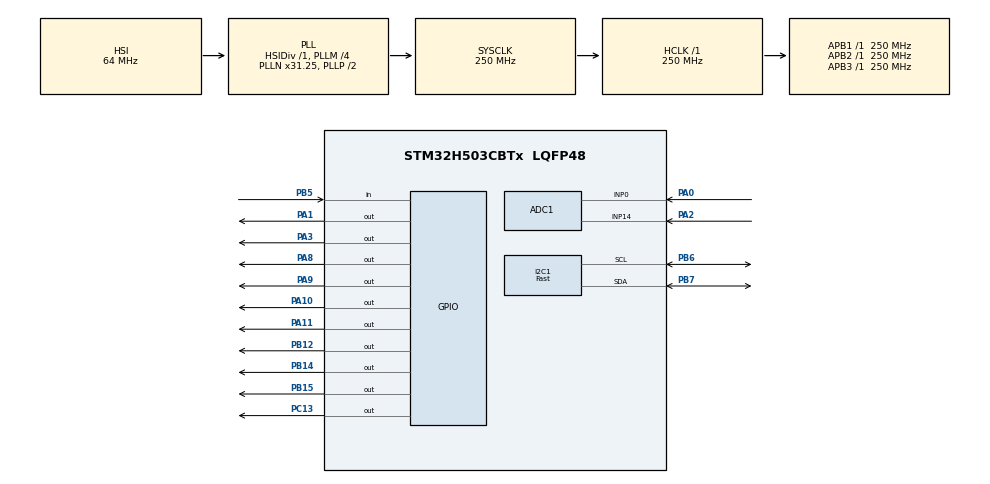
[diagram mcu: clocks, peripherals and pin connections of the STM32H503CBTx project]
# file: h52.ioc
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ADC1.Channel-1\#ChannelRegularConversion=ADC_CHANNEL_0
ADC1.MonitoredBy-1\#ChannelRegularConversion=__NULL
ADC1.NbrOfConversionFlag=1
ADC1.OffsetNumber-1\#ChannelRegularConversion=ADC_OFFSET_NONE
ADC1.Rank-1\#ChannelRegularConversion=1
ADC1.SamplingTime-1\#ChannelRegularConversion=ADC_SAMPLETIME_2CYCLES_5
ADC1.master=1
BOOTPATH.BootPathName=LEGACY
BOOTPATH.UserSelectedBootPath=LEGACY
I2C1.I2C_Speed_Mode=I2C_Fast
I2C1.Timing=0x10C043E5
Mcu.Family=STM32H5
Mcu.Name=STM32H503CBTx
Mcu.Package=LQFP48
NVIC.PriorityGroup=NVIC_PRIORITYGROUP_4
PA0.Signal=ADCx_INP0
PA1.Signal=GPIO_Output
PA10.Signal=GPIO_Output
PA11.Signal=GPIO_Output
PA2.Signal=ADCx_INP14
PA3.Signal=GPIO_Output
PA8.Signal=GPIO_Output
PA9.Signal=GPIO_Output
PB12.Signal=GPIO_Output
PB14.Signal=GPIO_Output
PB15.Signal=GPIO_Output
PB5.Signal=GPIO_Input
PB6.Mode=I2C
PB6.Signal=I2C1_SCL
PB7.Mode=I2C
PB7.Signal=I2C1_SDA
PC13.Signal=GPIO_Output
ProjectManager.HeapSize=0x200
ProjectManager.StackSize=0x400
ProjectManager.TargetToolchain=CMake
RCC.ADCCLockSelection=RCC_ADCDACCLKSOURCE_HSI
RCC.ADCFreq_Value=64000000
RCC.AHBFreq_Value=250000000
RCC.APB1Freq_Value=250000000
RCC.APB1TimFreq_Value=250000000
RCC.APB2Freq_Value=250000000
RCC.APB2TimFreq_Value=250000000
RCC.APB3Freq_Value=250000000
RCC.CSI_VALUE=4000000
RCC.CortexFreq_Value=250000000
RCC.EPOD_VALUE=64000000
RCC.HCLKFreq_Value=250000000
RCC.HSE_VALUE=25000000
RCC.HSI48_VALUE=48000000
RCC.HSIDiv=RCC_HSI_DIV1
RCC.HSI_VALUE=64000000
RCC.LSE_VALUE=32768
RCC.LSIRC_VALUE=32000
RCC.PLLFRACN=2048
RCC.PLLM=4
RCC.PLLN=31
RCC.PLLSourceVirtual=RCC_PLL1_SOURCE_HSI
RCC.SYSCLKFreq_VALUE=250000000
RCC.SYSCLKSource=RCC_SYSCLKSOURCE_PLLCLK
RCC.USBFreq_Value=48000000
RCC.VCOOutputFreq_Value=500000000
SH.ADCx_INP0.0=ADC1_INP0,IN0-Single-Ended
SH.ADCx_INP14.0=ADC1_INP14,IN14-Single-Ended
TIM1.Prescaler=250-1
VP_BOOTPATH_VS_BOOTPATH.Mode=BP_Activate
VP_CORTEX_M33_NS_VS_Hclk.Mode=Hclk_Mode
VP_ICACHE_VS_ICACHE.Mode=DirectMappedCache
VP_MEMORYMAP_VS_MEMORYMAP.Mode=CurAppReg
VP_PWR_VS_LPOM.Mode=PowerOptimisation
VP_PWR_VS_SECSignals.Mode=Security/Privilege
VP_TIM1_VS_ClockSourceINT.Mode=Internal
board=custom

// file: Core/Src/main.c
/* USER CODE BEGIN Header */
/**
 ******************************************************************************
 * @file           : main.c
 * @brief          : Main program body
 ******************************************************************************
 * @attention
 *
 * Copyright (c) 2025 STMicroelectronics.
 * All rights reserved.
 *
 * This software is licensed under terms that can be found in the LICENSE file
 * in the root directory of this software component.
 * If no LICENSE file comes with this software, it is provided AS-IS.
 *
 ******************************************************************************
 */
/* USER CODE END Header */
#include "main.h"
#include "adc.h"
#include "gpio.h"
#include "i2c.h"
#include "icache.h"
#include "memorymap.h"
#include "tim.h"

/* USER CODE BEGIN PD */
#define MOTOR_ACCELERATION 1000
#define MOTOR_STEPS_PER_REVOLUTION 200
#define MOTOR_MICROSTEPPING 8
#define MOTOR_MAX_STEPS_GAP 9000
#define MOTOR_MIN_STEPS_GAP 3000
#define MOTOR_INITIAL_ANGLE_DEG 90

#define MOTOR1_START_ANGLE_DEG 195
#define MOTOR2_START_ANGLE_DEG 195
#define MOTOR3_START_ANGLE_DEG 195

#define SCREEN_WIDTH_PX 178
#define SCREEN_HEIGHT_PX 136

#define RRS3_BOTTOM_LEG_MM 67.5f
#define RRS3_TOP_LEG_MM 125.5f
#define RRS3_BASE_RADIUS_MM 63.0f
#define RRS3_PLATFORM_RADIUS_MM 63.0f
#define PLATFORM_HEIGHT_MM 150.0f

#define SCREEN_POSITION_SCALE 400.0f

#define PID_KP 0.5f
#define PID_KI 0.015f
#define PID_KD 0.25f
#define PID_INTEGRAL_LIMIT 0.015f
#define PID_OUTPUT_LIMIT 0.1f
/* USER CODE END PD */

void SystemClock_Config(void);

int main(void) {

  /* MCU Configuration--------------------------------------------------------*/

  /* Reset of all peripherals, Initializes the Flash interface and the Systick.
   */
  HAL_Init();

  /* Configure the system clock */
  SystemClock_Config();

  /* Initialize all configured peripherals */
  MX_GPIO_Init();
  MX_ICACHE_Init();
  MX_TIM1_Init();
  MX_ADC1_Init();
  MX_I2C1_Init();
  /* USER CODE BEGIN 2 */

  // if (!MPU_begin(&hi2c1, AD0_LOW, AFSR_4G, GFSR_500DPS, 0.98, 0.004))
  // {
  //   while (1)
  //   {
  //     HAL_Delay(100);
  //   }
  // }

  // while (true)
  // {
  //   MPU_calcAttitude(&hi2c1);
  // }

  HAL_GPIO_WritePin(GPIOA, GPIO_PIN_11, GPIO_PIN_SET);
  // read timer value
  HAL_TIM_Base_Start(&htim1); // Start the timer
  StepperMotorConfig motorConfig = {.acceleration = MOTOR_ACCELERATION,
                                    .stepsPerRevolution = MOTOR_STEPS_PER_REVOLUTION,
                                    .microstepping = MOTOR_MICROSTEPPING,
                                    .timerHandle = &htim1,
                                    .maxStepsGap = MOTOR_MAX_STEPS_GAP,
                                    .minStepsGap = MOTOR_MIN_STEPS_GAP};

  StepperMotor motor1 = motor_create(&motorConfig, GPIOB, GPIO_PIN_15,
                                     GPIO_PIN_14, MOTOR1_START_ANGLE_DEG, true);
  StepperMotor motor2 = motor_create(&motorConfig, GPIOA, GPIO_PIN_9,
                                     GPIO_PIN_8, MOTOR2_START_ANGLE_DEG, true);
  StepperMotor motor3 = motor_create(&motorConfig, GPIOA, GPIO_PIN_11,
                                     GPIO_PIN_10, MOTOR3_START_ANGLE_DEG, true);
  Screen screen = screen_create(
      SCREEN_WIDTH_PX, SCREEN_HEIGHT_PX, &htim1, GPIOA, GPIO_PIN_2, GPIOA,
      GPIO_PIN_3, GPIOA, GPIO_PIN_0, GPIOA, GPIO_PIN_1, &hadc1,
      ADC_CHANNEL_14, ADC_CHANNEL_0);

  // screen_calibration(&screen);
  screen_load_calibration(&screen);
  RRS3Options rrs3Options = {.buttomLeg = RRS3_BOTTOM_LEG_MM,
                             .topLeg = RRS3_TOP_LEG_MM,
                             .baseR = RRS3_BASE_RADIUS_MM,
                             .platformR = RRS3_PLATFORM_RADIUS_MM};

  PIDConfig pidConfig = {.kp = PID_KP,
                         .ki = PID_KI,
                         .kd = PID_KD,
                         .integralLimit = PID_INTEGRAL_LIMIT,
                         .outputLimit = PID_OUTPUT_LIMIT};
  PID pidX = pid_create(&pidConfig);
  PID pidY = pid_create(&pidConfig);
  uint32_t lastTime = HAL_GetTick();

  motor_set_angle(&motor1, MOTOR_INITIAL_ANGLE_DEG);
  motor_set_angle(&motor2, MOTOR_INITIAL_ANGLE_DEG);
  motor_set_angle(&motor3, MOTOR_INITIAL_ANGLE_DEG);
  /* USER CODE END 2 */

  /* Infinite loop */
  /* USER CODE BEGIN WHILE */
  while (1) {
    ScreenData screenData = screen_read(&screen);

    float x = (screenData.x - screen.width / 2) / SCREEN_POSITION_SCALE;
    float y = -1 * (screenData.y - screen.height / 2) / SCREEN_POSITION_SCALE;

    float dt = pid_compute_dt(&lastTime);

    float newX = pid_update(&pidX, x, dt);
    float newY = pid_update(&pidY, y, dt);

    float angleA = rrs3_calculate_angles(A, &rrs3Options, PLATFORM_HEIGHT_MM,
                                         newX, newY);
    float angleB = rrs3_calculate_angles(B, &rrs3Options, PLATFORM_HEIGHT_MM,
                                         newX, newY);
    float angleC = rrs3_calculate_angles(C, &rrs3Options, PLATFORM_HEIGHT_MM,
                                         newX, newY);

    motor_set_angle(&motor1, angleA);
    motor_set_angle(&motor2, angleB);
    motor_set_angle(&motor3, angleC);

    motor_run(&motor1);
    motor_run(&motor2);
    motor_run(&motor3);
    /* USER CODE END WHILE */

  }
}

void SystemClock_Config(void) {
  RCC_OscInitTypeDef RCC_OscInitStruct = {0};
  RCC_ClkInitTypeDef RCC_ClkInitStruct = {0};

  /** Configure the main internal regulator output voltage
   */
  __HAL_PWR_VOLTAGESCALING_CONFIG(PWR_REGULATOR_VOLTAGE_SCALE0);

  while (!__HAL_PWR_GET_FLAG(PWR_FLAG_VOSRDY)) {
  }

  /** Initializes the RCC Oscillators according to the specified parameters
   * in the RCC_OscInitTypeDef structure.
   */
  RCC_OscInitStruct.OscillatorType = RCC_OSCILLATORTYPE_HSI;
  RCC_OscInitStruct.HSIState = RCC_HSI_ON;
  RCC_OscInitStruct.HSIDiv = RCC_HSI_DIV1;
  RCC_OscInitStruct.HSICalibrationValue = RCC_HSICALIBRATION_DEFAULT;
  RCC_OscInitStruct.PLL.PLLState = RCC_PLL_ON;
  RCC_OscInitStruct.PLL.PLLSource = RCC_PLL1_SOURCE_HSI;
  RCC_OscInitStruct.PLL.PLLM = 4;
  RCC_OscInitStruct.PLL.PLLN = 31;
  RCC_OscInitStruct.PLL.PLLP = 2;
  RCC_OscInitStruct.PLL.PLLQ = 2;
  RCC_OscInitStruct.PLL.PLLR = 2;
  RCC_OscInitStruct.PLL.PLLRGE = RCC_PLL1_VCIRANGE_3;
  RCC_OscInitStruct.PLL.PLLVCOSEL = RCC_PLL1_VCORANGE_WIDE;
  RCC_OscInitStruct.PLL.PLLFRACN = 2048;
  if (HAL_RCC_OscConfig(&RCC_OscInitStruct) != HAL_OK) {
    Error_Handler();
  }

  /** Initializes the CPU, AHB and APB buses clocks
   */
  RCC_ClkInitStruct.ClockType = RCC_CLOCKTYPE_HCLK | RCC_CLOCKTYPE_SYSCLK |
                                RCC_CLOCKTYPE_PCLK1 | RCC_CLOCKTYPE_PCLK2 |
                                RCC_CLOCKTYPE_PCLK3;
  RCC_ClkInitStruct.SYSCLKSource = RCC_SYSCLKSOURCE_PLLCLK;
  RCC_ClkInitStruct.AHBCLKDivider = RCC_SYSCLK_DIV1;
  RCC_ClkInitStruct.APB1CLKDivider = RCC_HCLK_DIV1;
  RCC_ClkInitStruct.APB2CLKDivider = RCC_HCLK_DIV1;
  RCC_ClkInitStruct.APB3CLKDivider = RCC_HCLK_DIV1;

  if (HAL_RCC_ClockConfig(&RCC_ClkInitStruct, FLASH_LATENCY_5) != HAL_OK) {
    Error_Handler();
  }

  /** Configure the programming delay
   */
  __HAL_FLASH_SET_PROGRAM_DELAY(FLASH_PROGRAMMING_DELAY_2);
}

void Error_Handler(void) {
  __disable_irq();
  while (1) {
  }
}

#ifdef USE_FULL_ASSERT
/**
 * @brief  Reports the name of the source file and the source line number
 *         where the assert_param error has occurred.
 * @param  file: pointer to the source file name
 * @param  line: assert_param error line source number
 * @retval None
 */
void assert_failed(uint8_t *file, uint32_t line) {
  /* USER CODE BEGIN 6 */
  /* User can add his own implementation to report the file name and line
     number, ex: printf("Wrong parameters value: file %s on line %d\r\n", file,
     line) */
  /* USER CODE END 6 */
}
#endif /* USE_FULL_ASSERT */
